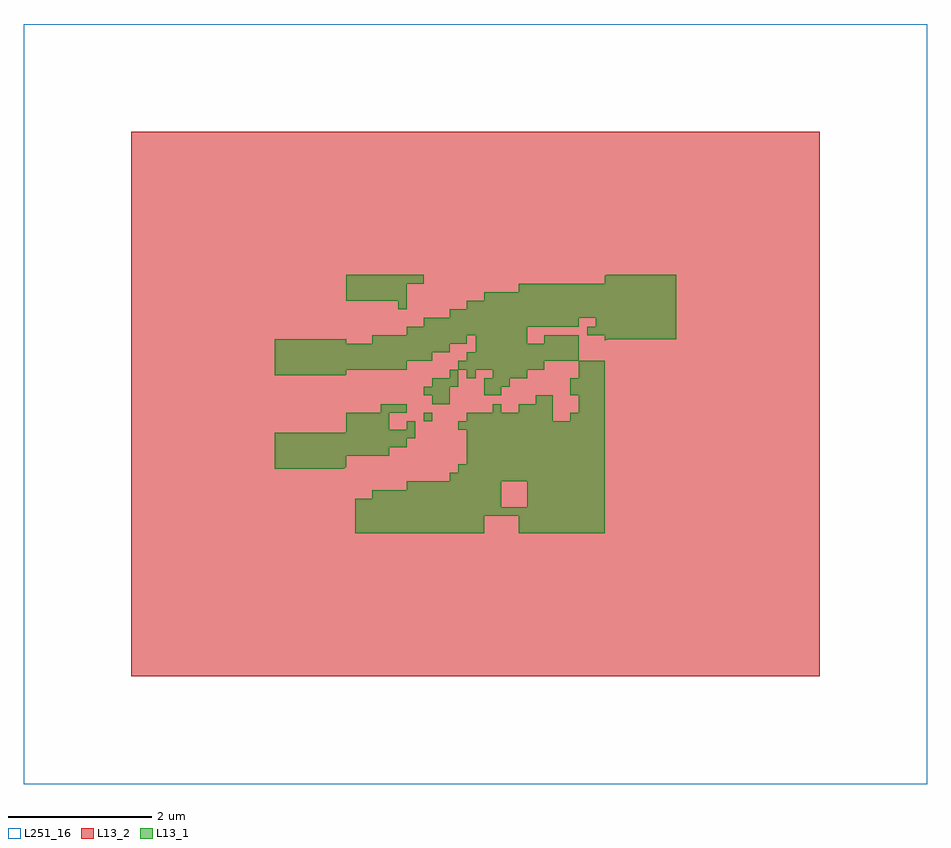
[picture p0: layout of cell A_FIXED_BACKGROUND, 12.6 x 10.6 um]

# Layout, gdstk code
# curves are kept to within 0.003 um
import gdstk
lib = gdstk.Library(unit=1e-6, precision=1e-10)
def R(c, l, rs):  # rectangles x0, y0, x1, y1
    for r in rs: c.add(gdstk.rectangle(r[:2], r[2:], *l))
def P(c, l, *ps):  # polygons
    for p in ps: c.add(gdstk.Polygon(p, *l))
L13_1 = (13, 1)
L13_2 = (13, 2)
L251_16 = (251, 16)

a_fixed_background = lib.new_cell('A_FIXED_BACKGROUND')
R(a_fixed_background, L13_1, [(-0.72,-0.24,-0.6,-0.12)])
P(a_fixed_background, L13_1, [(-2.8,-0.9),(-2.8,-0.4),(-1.8258,-0.3976),(-1.8088,-0.3878),(-1.8004,-0.3595),(-1.8,-0.12),(-1.32,-0.12),(-1.32,0),(-0.96,0),(-0.96,-0.12),(-1.2,-0.12),(-1.2,-0.36),(-0.96,-0.36),(-0.96,-0.24),(-0.84,-0.24),(-0.84,-0.48),(-0.96,-0.48),(-0.96,-0.6),(-1.2,-0.6),(-1.2,-0.72),(-1.8,-0.72),(-1.8007,-0.8662),(-1.8137,-0.8923),(-1.8324,-0.8989)],
  [(-1.08,1.32),(-1.08,1.44),(-1.8,1.44),(-1.8,1.8),(-0.72,1.8),(-0.72,1.68),(-0.96,1.68),(-0.96,1.32)],
  [(-1.68,-1.8),(-1.68,-1.32),(-1.44,-1.32),(-1.44,-1.2),(-0.96,-1.2),(-0.96,-1.08),(0.36,-1.08),(0.36,-1.44),(0.72,-1.44),(0.72,-1.08),(-0.36,-1.08),(-0.36,-0.96),(-0.24,-0.96),(-0.24,-0.84),(-0.12,-0.84),(-0.12,-0.36),(-0.24,-0.36),(-0.24,-0.24),(-0.12,-0.24),(-0.12,-0.12),(0.24,-0.12),(0.24,0),(0.36,0),(0.36,-0.12),(0.6,-0.12),(0.6,0),(0.84,0),(0.84,0.12),(1.08,0.12),(1.08,-0.24),(1.32,-0.24),(1.32,-0.12),(1.44,-0.12),(1.44,0.12),(1.32,0.12),(1.32,0.36),(1.44,0.36),(1.44,0.6),(0.96,0.6),(0.96,0.48),(0.72,0.48),(0.72,0.36),(0.48,0.36),(0.48,0.24),(0.36,0.24),(0.36,0.12),(0.12,0.12),(0.12,0.36),(0.24,0.36),(0.24,0.48),(0,0.48),(0,0.36),(-0.12,0.36),(-0.12,0.48),(-0.24,0.48),(-0.24,0.24),(-0.36,0.24),(-0.36,0),(-0.6,0),(-0.6,0.12),(-0.72,0.12),(-0.72,0.24),(-0.6,0.24),(-0.6,0.36),(-0.36,0.36),(-0.36,0.48),(-0.24,0.48),(-0.24,0.6),(-0.12,0.6),(-0.12,0.72),(0,0.72),(0,0.96),(-0.12,0.96),(-0.12,0.84),(-0.36,0.84),(-0.36,0.72),(-0.6,0.72),(-0.6,0.6),(-0.96,0.6),(-0.96,0.48),(-1.8,0.48),(-1.8,0.4099),(-1.8388,0.4003),(-2.8,0.4),(-2.8,0.9),(-1.8592,0.9),(-1.8293,0.9011),(-1.8,0.91),(-1.8,0.84),(-1.44,0.84),(-1.44,0.96),(-0.96,0.96),(-0.96,1.08),(-0.72,1.08),(-0.72,1.2),(-0.36,1.2),(-0.36,1.32),(-0.12,1.32),(-0.12,1.44),(0.12,1.44),(0.12,1.56),(0.6,1.56),(0.6,1.68),(1.8,1.68),(1.8,1.7904),(1.8327,1.7993),(2.8,1.8),(2.8,0.9),(1.8455,0.8998),(1.8162,0.8943),(1.8,0.8805),(1.8,0.96),(1.56,0.96),(1.56,1.08),(1.68,1.08),(1.68,1.2),(1.44,1.2),(1.44,1.08),(0.72,1.08),(0.72,0.84),(0.96,0.84),(0.96,0.96),(1.44,0.96),(1.44,0.6),(1.8,0.6),(1.8,-1.8),(0.6,-1.8),(0.6,-1.56),(0.12,-1.56),(0.12,-1.8)])
R(a_fixed_background, L13_2, [(-4.8,-3.8,4.8,3.8)])
R(a_fixed_background, L251_16, [(-6.3,-5.3,6.3,5.3)])

lib.write_gds('A_FIXED_BACKGROUND.gds')
